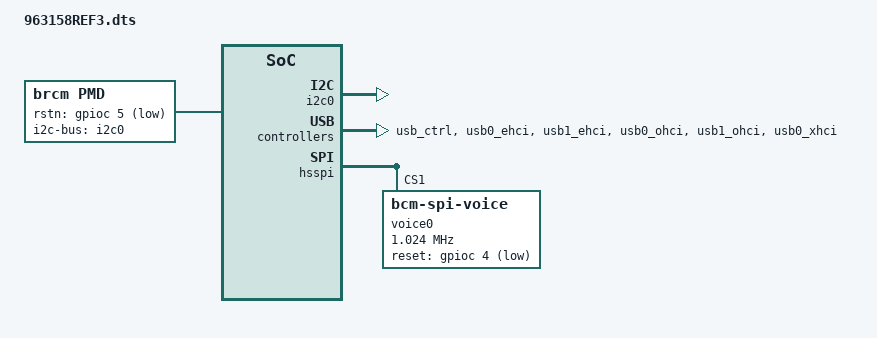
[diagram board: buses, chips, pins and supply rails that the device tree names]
#include "63158.dtsi"
#include "../bcm_voice.dtsi"
#include "963158REF3_leds.dtsi"

/ {
    memory_controller {
        memcfg = <(BP_DDR_SPEED_1067_14_14_14 | \
                   BP_DDR_TOTAL_SIZE_1024MB   | \
                   BP_DDR_DEVICE_WIDTH_16     | \
                   BP_DDR_TOTAL_WIDTH_32BIT   | \
                   BP_DDR_SSC_CONFIG_1)>;
    };

	buttons {
		compatible = "brcm,buttons";
		reset_button {
			ext_irq = <&bca_extintr 46 BCA_GPIO_ACTIVE_LOW (BCA_EXTINTR_TYPE_LOW_LEVEL | BCA_EXTINTR_TYPE_SENSE_EDGE)>;
			press {
				print = "Button Press -- Hold for 5s to do restore to default";
			};
			hold {
				rst_to_dflt = <5>;
			};
			release {
				reset = <0>;
			};	
		};
		ses_button {
			ext_irq = <&bca_extintr 41 BCA_GPIO_ACTIVE_LOW (BCA_EXTINTR_TYPE_LOW_LEVEL | BCA_EXTINTR_TYPE_SENSE_EDGE)>;
			release {
				ses_short_period = <0>;
				ses_long_period = <3>;
			};
		};
	};

	pmd: pmd {
		compatible = "brcm,pmd";
		rstn-gpio = <&gpioc 5 GPIO_ACTIVE_LOW>;
		alarm = <&bca_extintr 40 GPIO_ACTIVE_HIGH (BCA_EXTINTR_TYPE_HIGH_LEVEL | BCA_EXTINTR_TYPE_SENSE_EDGE)>;
		apd-boost;
		i2c-bus = <&i2c0>;
	};
};

&i2c0 {
	pinctrl-names = "default";
	pinctrl-0 = <&b0_i2c_scl_0_pin_25 &b0_i2c_sda_0_pin_24>;
	status = "okay";
};

&usb_ctrl {
	pinctrl-names="default";
	pinctrl-0 = <&usb0a_pwr_pins &usb1a_pwr_pins>;
	status = "okay";
	xhci-enable;
};

&usb0_ehci {
	status = "okay";
};
&usb1_ehci {
	status = "okay";
};

&usb0_ohci {
	status = "okay";
};
&usb1_ohci {
	status = "okay";
};

&usb0_xhci {
	status = "okay";
};

&mdio_sf2 {
	/* PHYs directly connected to SF2 */
	gphy8:8 {
		status = "okay";
	};
	gphy9:9 {
		status = "okay";
	};
	gphya:a {
		status = "okay";
	};
	gphyb:b {
		status = "okay";
	};

	/* PHYs connected to crossbar */
	gphyc:c {
		status = "okay";
	};
	phy_serdes1:serdes1 {
		status = "okay";
	};

	/* Crossbar groups */
	xbar_grp2:2 {
		phy-handle = <&gphyc &phy_serdes1>;
		status = "okay";
	};
};

&switch_sf2 {
	ports {
		sf2_port0@0 {
			phy-handle = <&gphy8>;
			network-leds = <&led0 &led1 &led20>;
			status = "okay";
		};

		sf2_port1@1 {
			phy-handle = <&gphy9>;
			network-leds = <&led2 &led3 &led21>;
			status = "okay";
		};

		sf2_port2@2 {
			phy-handle = <&gphya>;
			network-leds = <&led4 &led5 &led22>;
			status = "okay";
		};

		sf2_port3@3 {
			phy-handle = <&gphyb>;
			network-leds = <&led6 &led7 &led23>;
			status = "okay";
		};
	};
};

&switch0 {
	ports {
		
		port5@5 {
			phy-handle = <&xbar_grp2>;
			/* xbar ext ep 0 serdes leds */
			network-leds-0 = <&led10 &led11 &led12 &led25>;
			/* xbar ext ep 1 sgphy leds */
			network-leds-1 = <&led8 &led9 &led24>;
			status = "okay";
		};

	};
};

&bcm_voice{
	sliclist = SLICSLAC_LIST_COMMON_NOFXO;
};

&hsspi {
	voice0 {
		pinctrl-0 = <&spim_ss1_b_pin_112>;
		pinctrl-names = "default";
		compatible = "bcm-spi-voice";
		reg = <1>; /* chip select 1 */
		spi-max-frequency = <1024000>;
		reset-gpio = <&gpioc 4 GPIO_ACTIVE_LOW>;
		spi-index = <0>;/* voice header index */
	};
};
